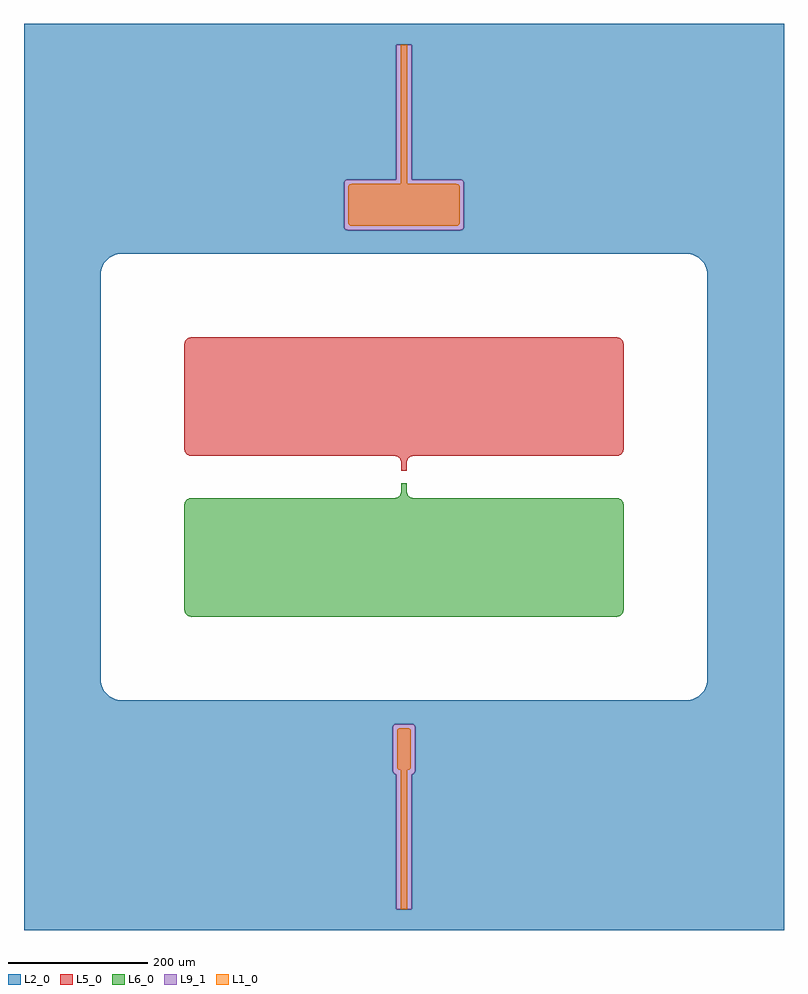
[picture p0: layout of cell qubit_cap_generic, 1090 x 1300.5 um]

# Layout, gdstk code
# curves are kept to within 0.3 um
from math import pi, radians
import gdstk
lib = gdstk.Library(unit=1e-6, precision=1e-09)
def R(c, l, rs):  # rectangles x0, y0, x1, y1
    for r in rs: c.add(gdstk.rectangle(r[:2], r[2:], *l))
def P(c, l, *ps):  # polygons
    for p in ps: c.add(gdstk.Polygon(p, *l))
L1_0 = (1, 0)
L2_0 = (2, 0)
L5_0 = (5, 0)
L6_0 = (6, 0)
L9_1 = (9, 1)

round_rectangle_0c718cdc = lib.new_cell('round_rectangle_0c718cdc')
P(round_rectangle_0c718cdc, L5_0, [(-305,30.25),(307.079,30.469),(310.878,32.16),(313.09,34.372),(314.511,37.16),(315,40.25),(314.781,192.329),(313.09,196.128),(310.878,198.34),(308.09,199.761),(305,200.25),(-307.079,200.031),(-310.878,198.34),(-313.09,196.128),(-314.511,193.34),(-315,190.25),(-315,40.25),(-314.511,37.16),(-312.431,33.559),(-309.067,31.115)])

round_rectangle_8ad22f53 = lib.new_cell('round_rectangle_8ad22f53')
R(round_rectangle_8ad22f53, L5_0, [(-4,-10.625,4,10.625)])

fillet_cutout_90deg_1908 = lib.new_cell('fillet_cutout_90deg_19087955')
P(fillet_cutout_90deg_1908, L5_0, [(0,0),(7.071,7.071),(5.556,5.827),(3.827,4.903),(1.951,4.334),(0,4.142),(-1.951,4.334),(-3.827,4.903),(-5.556,5.827),(-7.071,7.071)])

fillet_cutout_90deg_7294 = lib.new_cell('fillet_cutout_90deg_72947cdf')
P(fillet_cutout_90deg_7294, L5_0, [(0,0),(-7.071,-7.071),(-5.556,-5.827),(-3.827,-4.903),(-1.951,-4.334),(0,-4.142),(1.951,-4.334),(3.827,-4.903),(5.556,-5.827),(7.071,-7.071)])

round_rectangle_d4803523 = lib.new_cell('round_rectangle_d4803523')
P(round_rectangle_d4803523, L6_0, [(-305,-200.25),(307.079,-200.031),(310.878,-198.34),(313.09,-196.128),(314.511,-193.34),(315,-190.25),(314.781,-38.171),(313.09,-34.372),(310.878,-32.16),(308.09,-30.739),(305,-30.25),(-307.079,-30.469),(-310.878,-32.16),(-313.09,-34.372),(-314.511,-37.16),(-315,-40.25),(-315,-190.25),(-314.511,-193.34),(-312.431,-196.941),(-309.067,-199.385)])

round_rectangle_b819cd4d = lib.new_cell('round_rectangle_b819cd4d')
R(round_rectangle_b819cd4d, L6_0, [(-4,-10.625,4,10.625)])

fillet_cutout_90deg_0e94 = lib.new_cell('fillet_cutout_90deg_0e94dd91')
P(fillet_cutout_90deg_0e94, L6_0, [(0,0),(7.071,7.071),(5.556,5.827),(3.827,4.903),(1.951,4.334),(0,4.142),(-1.951,4.334),(-3.827,4.903),(-5.556,5.827),(-7.071,7.071)])

fillet_cutout_90deg_25a9 = lib.new_cell('fillet_cutout_90deg_25a9f91b')
P(fillet_cutout_90deg_25a9, L6_0, [(0,0),(-7.071,-7.071),(-5.556,-5.827),(-3.827,-4.903),(-1.951,-4.334),(0,-4.142),(1.951,-4.334),(3.827,-4.903),(5.556,-5.827),(7.071,-7.071)])

round_rectangle_80ea1818 = lib.new_cell('round_rectangle_80ea1818')
P(round_rectangle_80ea1818, L1_0, [(-75,-30),(76.545,-29.755),(78.716,-28.346),(79.973,-25.523),(79.755,26.545),(77.939,29.045),(75,30),(-76.545,29.755),(-78.716,28.346),(-79.973,25.523),(-80,-25),(-79.568,-27.034),(-78.716,-28.346),(-77.034,-29.568)])

straight_cpw_length_um20 = lib.new_cell('straight_cpw_length_um200p0')
R(straight_cpw_length_um20, L1_0, [(0,-5,200,5)])
R(straight_cpw_length_um20, L9_1, [(0,-11,200,11)])

round_rectangle_57a3c5c0 = lib.new_cell('round_rectangle_57a3c5c0')
P(round_rectangle_57a3c5c0, L9_1, [(-81,354.25),(81,354.25),(83.034,354.682),(85.045,356.311),(86,359.25),(86,421.25),(85.568,423.284),(83.939,425.295),(81,426.25),(-81,426.25),(-83.034,425.818),(-85.045,424.189),(-86,421.25),(-86,359.25),(-85.568,357.216),(-84.716,355.904),(-83.034,354.682)])

round_rectangle_radius5p = lib.new_cell('round_rectangle_radius5p0_size20p0__60p0')
P(round_rectangle_radius5p, L1_0, [(-5,-30),(6.04,-29.891),(8.346,-28.716),(9.891,-26.04),(9.973,25.523),(8.716,28.346),(6.04,29.891),(-6.04,29.891),(-8.346,28.716),(-9.891,26.04),(-9.973,-25.523),(-9.568,-27.034),(-8.346,-28.716),(-7.034,-29.568)])

round_rectangle_eb27c4cc = lib.new_cell('round_rectangle_eb27c4cc')
P(round_rectangle_eb27c4cc, L9_1, [(-11,-426.25),(11.523,-426.223),(14.346,-424.966),(15.755,-422.795),(16,-359.25),(15.045,-356.311),(12.545,-354.495),(-11.523,-354.277),(-14.346,-355.534),(-15.755,-357.705),(-15.973,-421.773),(-15.568,-423.284),(-14.346,-424.966),(-13.034,-425.818)])

unnamed_c6397f64 = lib.new_cell('Unnamed_c6397f64')
P(unnamed_c6397f64, L2_0, [(545,650.25),(-545,650.25),(-545,359.25),(-86,359.25),(-86,421.25),(-85.568,423.284),(-84.346,424.966),(-83.034,425.818),(-81,426.25),(-11,426.25),(-11,620.25),(11,620.25),(11,426.25),(81.523,426.223),(83.034,425.818),(84.716,424.596),(85.568,423.284),(86,421.25),(85.973,358.727),(84.716,355.904),(83.034,354.682),(81.523,354.277),(-81,354.25),(-83.034,354.682),(-84.346,355.534),(-85.568,357.216),(-86,359.25),(-545,359.25),(-545,-290.25),(-435,-290.25),(-435,290.25),(-434.836,293.386),(-433.532,299.521),(-430.981,305.25),(-427.294,310.324),(-422.634,314.521),(-420,316.231),(-414.271,318.782),(-408.136,320.086),(-405,320.25),(405,320.25),(408.136,320.086),(414.271,318.782),(420,316.231),(425.074,312.544),(429.271,307.884),(432.406,302.452),(434.344,296.487),(435,290.25),(435,-290.25),(434.344,-296.487),(432.406,-302.452),(429.271,-307.884),(425.074,-312.544),(420,-316.231),(414.271,-318.782),(408.136,-320.086),(405,-320.25),(-405,-320.25),(-408.136,-320.086),(-414.271,-318.782),(-420,-316.231),(-425.074,-312.544),(-429.271,-307.884),(-432.406,-302.452),(-434.344,-296.487),(-435,-290.25),(-545,-290.25),(-545,-421.25),(-16,-421.25),(-16,-359.25),(-15.33,-356.75),(-13.939,-355.205),(-11.523,-354.277),(11.523,-354.277),(13.034,-354.682),(14.716,-355.904),(15.568,-357.216),(16,-359.25),(15.973,-421.773),(15.568,-423.284),(14.346,-424.966),(13.034,-425.818),(11,-426.25),(11,-620.25),(-11,-620.25),(-11,-426.25),(-13.034,-425.818),(-14.346,-424.966),(-15.568,-423.284),(-16,-421.25),(-545,-421.25),(-545,-650.25),(545,-650.25)])

qubit_cap_generic = lib.new_cell('qubit_cap_generic')
qubit_cap_generic.add(gdstk.Reference(round_rectangle_0c718cdc, (0,0)))
qubit_cap_generic.add(gdstk.Reference(round_rectangle_8ad22f53, (0,19.625)))
qubit_cap_generic.add(gdstk.Reference(fillet_cutout_90deg_1908, (4,30.25), rotation=radians(225)))
qubit_cap_generic.add(gdstk.Reference(fillet_cutout_90deg_7294, (-4,30.25), rotation=radians(315)))
qubit_cap_generic.add(gdstk.Reference(round_rectangle_d4803523, (0,0)))
qubit_cap_generic.add(gdstk.Reference(round_rectangle_b819cd4d, (0,-19.625), rotation=pi))
qubit_cap_generic.add(gdstk.Reference(fillet_cutout_90deg_0e94, (-4,-30.25), rotation=radians(45)))
qubit_cap_generic.add(gdstk.Reference(fillet_cutout_90deg_25a9, (4,-30.25), rotation=radians(135)))
qubit_cap_generic.add(gdstk.Reference(round_rectangle_80ea1818, (0,390.25)))
qubit_cap_generic.add(gdstk.Reference(straight_cpw_length_um20, (0,420.25), rotation=pi/2))
qubit_cap_generic.add(gdstk.Reference(round_rectangle_57a3c5c0, (0,0)))
qubit_cap_generic.add(gdstk.Reference(round_rectangle_radius5p, (0,-390.25)))
qubit_cap_generic.add(gdstk.Reference(straight_cpw_length_um20, (0,-420.25), rotation=3*pi/2))
qubit_cap_generic.add(gdstk.Reference(round_rectangle_eb27c4cc, (0,0)))
qubit_cap_generic.add(gdstk.Reference(unnamed_c6397f64, (0,0)))

lib.write_gds('qubit_cap_generic.gds')
